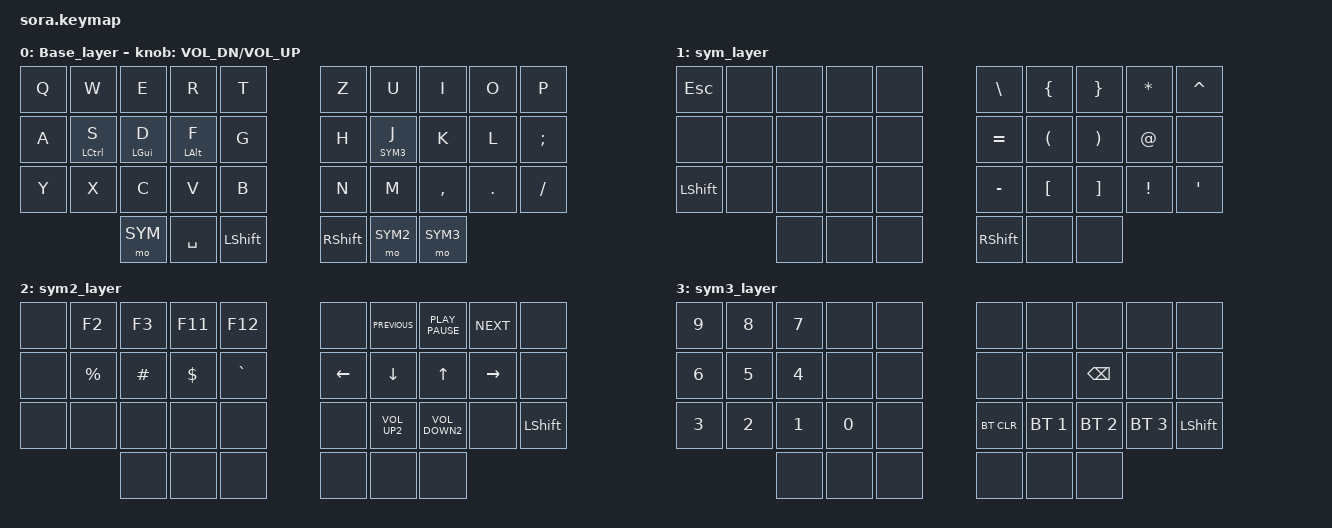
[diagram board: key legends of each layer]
#include <behaviors.dtsi>
#include <dt-bindings/zmk/keys.h>
#include <dt-bindings/zmk/bt.h>

#define BASE 0
#define SYM 1
#define SYM2 2
#define SYM3 3

/ {
  combos {
    compatible = "zmk,combos";

    combo_reset {
      timeout-ms = <50>;
      key-positions = <0 2>;
      layers = <SYM BASE SYM2 SYM3>;
      bindings = <&sys_reset>; 
    };
    
    combo_enter {
      timeout-ms = <50>;
      key-positions = <16 17>;
      layers = <BASE>;
      bindings = <&kp RET>; 
    };
    
    combo_tab {
      timeout-ms = <50>;
      key-positions = <12 13>;
      layers = <BASE>;
      bindings = <&kp TAB>; 
    };
    
    combo_esc {
      timeout-ms = <50>;
      key-positions = <13 16>;
      layers = <BASE>;
      bindings = <&kp ESC>; 
    };
  };

  behaviors {
    hm: homerow_mods {
      compatible = "zmk,behavior-hold-tap";
      #binding-cells = <2>;
      tapping-term-ms = <250>;
      quick-tap-ms = <0>;
      flavor = "tap-preferred";
      bindings = <&kp>, <&kp>;
    };
  };

  keymap {
    compatible = "zmk,keymap";
    
    Base_layer {
      bindings = <
        &kp Q &kp W &kp E &kp R &kp T                    &kp Z &kp U &kp I &kp O &kp P 
        &kp A &hm LCTRL S &hm LGUI D &hm LALT F &kp G    &kp H &lt SYM3 J &kp K &kp L &kp SEMICOLON 
        &kp Y &kp X &kp C &kp V &kp B                    &kp N &kp M &kp COMMA &kp PERIOD &kp SLASH 
              &mo SYM &kp SPACE &kp LEFT_SHIFT           &kp RIGHT_SHIFT &mo SYM2 &mo SYM3 
      >;
      sensor-bindings = <&inc_dec_kp C_VOL_DN C_VOL_UP>;
    };
    
    sym_layer {
      bindings = <
        &kp ESCAPE &none &none &none &none              &kp BACKSLASH &kp LEFT_BRACE &kp RIGHT_BRACE &kp ASTERISK &kp CARET 
        &none &none &none &none &none                   &kp EQUAL &kp LEFT_PARENTHESIS &kp RIGHT_PARENTHESIS &kp AT_SIGN &none 
        &kp LEFT_SHIFT &none &none &none &none          &kp MINUS &kp LEFT_BRACKET &kp RIGHT_BRACKET &kp EXCLAMATION &kp SINGLE_QUOTE 
                &none &none &none                        &kp RIGHT_SHIFT &none &none 
      >;
    };
    
    sym2_layer {
      bindings = <
        &none &kp F2 &kp F3 &kp F11 &kp F12             &none &kp K_PREVIOUS &kp K_PLAY_PAUSE &kp K_NEXT &none 
        &none &kp PERCENT &kp HASH &kp DOLLAR &kp GRAVE &kp LEFT &kp DOWN &kp UP &kp RIGHT &none 
        &none &none &none &none &none                   &none &kp K_VOLUME_UP2 &kp K_VOLUME_DOWN2 &none &kp LEFT_SHIFT 
              &none &none &none                          &none &none &none 
      >;
    };
    
    sym3_layer {
      bindings = <
        &kp NUMBER_9 &kp NUMBER_8 &kp NUMBER_7 &none &none     &none &none &none &none &none 
        &kp NUMBER_6 &kp NUMBER_5 &kp NUMBER_4 &none &none     &none &none &kp BACKSPACE &none &none 
        &kp NUMBER_3 &kp NUMBER_2 &kp NUMBER_1 &kp NUMBER_0 &none     &bt BT_CLR &bt BT_SEL 1 &bt BT_SEL 2 &bt BT_SEL 3 &kp LEFT_SHIFT 
                     &none &none &none                         &none &none &none 
      >;
      
    };
  };
};
